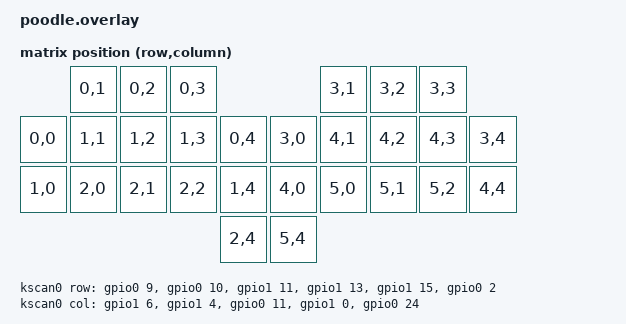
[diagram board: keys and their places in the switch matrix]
#include <dt-bindings/zmk/matrix_transform.h>

/ {
    chosen {
        zmk,kscan = &kscan0;
        zmk,matrix-transform = &default_transform;
    };


    default_transform: keymap_transform_0 {
        compatible = "zmk,matrix-transform";
        columns = <5>;
        rows = <6>;
        map = <
            RC(0,1) RC(0,2) RC(0,3)                   RC(3,1) RC(3,2) RC(3,3)
    RC(0,0) RC(1,1) RC(1,2) RC(1,3) RC(0,4)   RC(3,0) RC(4,1) RC(4,2) RC(4,3) RC(3,4)
    RC(1,0) RC(2,0) RC(2,1) RC(2,2) RC(1,4)   RC(4,0) RC(5,0) RC(5,1) RC(5,2) RC(4,4)
                                    RC(2,4)   RC(5,4) 
        >;
    };

    kscan0: kscan {
        compatible = "zmk,kscan-gpio-matrix";
        diode-direction = "row2col";
        wakeup-source;

        col-gpios
            = <&gpio1 6  (GPIO_ACTIVE_HIGH | GPIO_PULL_DOWN)>
            , <&gpio1 4  (GPIO_ACTIVE_HIGH | GPIO_PULL_DOWN)>
            , <&gpio0 11 (GPIO_ACTIVE_HIGH | GPIO_PULL_DOWN)>
            , <&gpio1 0  (GPIO_ACTIVE_HIGH | GPIO_PULL_DOWN)>
            , <&gpio0 24 (GPIO_ACTIVE_HIGH | GPIO_PULL_DOWN)>
            ;

        row-gpios
            = <&gpio0 9  GPIO_ACTIVE_HIGH>
            , <&gpio0 10 GPIO_ACTIVE_HIGH>
            , <&gpio1 11 GPIO_ACTIVE_HIGH>
            , <&gpio1 13 GPIO_ACTIVE_HIGH>
            , <&gpio1 15 GPIO_ACTIVE_HIGH>
            , <&gpio0 2  GPIO_ACTIVE_HIGH>
            ;
    };
};
